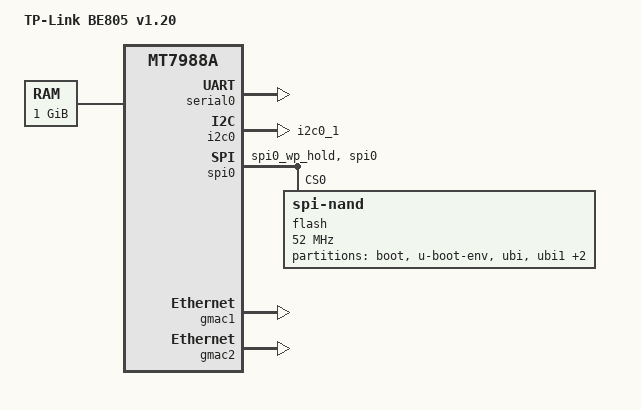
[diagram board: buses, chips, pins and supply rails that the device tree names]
// SPDX-License-Identifier: GPL-2.0-or-later OR MIT
// Author: Yanase Yuki <dev@zpc.st>
/dts-v1/;
#include "mt7988a.dtsi"
#include <dt-bindings/input/input.h>
#include <dt-bindings/leds/common.h>
#include <dt-bindings/regulator/richtek,rt5190a-regulator.h>

/ {
	model = "TP-Link BE805 v1.20";
	compatible = "tplink,be805-v1.20", "mediatek,mt7988a";
	chassis-type = "embedded";

	aliases {
		serial0 = &serial0;
	};

	chosen {
		bootargs = "";
		stdout-path = "serial0:115200n8";
	};

	memory {
		device_type = "memory";
		reg = <0x0 0x40000000>;
	};
};

&pio {
	i2c0_pins: i2c0-pins {
		mux {
			function = "i2c";
			groups = "i2c0_1";
		};
	};

	spi0_pins: spi0-pins {
		mux {
			function = "spi";
			groups = "spi0_wp_hold", "spi0";
		};
	};
};

&serial0 {
	status = "okay";
};

&i2c0 {
	status = "okay";
	pinctrl-names = "default";
	pinctrl-0 = <&i2c0_pins>;
};

&spi0 {
	status = "okay";
	pinctrl-names = "default";
	pinctrl-0 = <&spi0_pins>;

	flash: flash@0 {
		compatible = "spi-nand";
		reg = <0>;

		// half of the max rating (104 MHz)
		spi-max-frequency = <52000000>;
		spi-rx-bus-width = <4>;
		spi-tx-bus-width = <4>;

		nand-ecc-engine = <&flash>;

		// use stock firmware's value
		spi-cal-enable;
		spi-cal-mode = "read-data";
		spi-cal-datalen = <7>;
		spi-cal-data = [53 50 49 4e 41 4e 44];
		spi-cal-addrlen = <5>;
		spi-cal-addr = <0x0 0x0 0x0 0x0 0x0>;
	};
};

&gmac1 {
	status = "okay";
};

&gmac2 {
	status = "okay";
};

&flash {
	partitions {
		compatible = "fixed-partitions";
		#address-cells = <1>;
		#size-cells = <1>;

		partition@0 {
			reg = <0x0 0x200000>;
			label = "boot";
			read-only;
		};

		partition@200000 {
			reg = <0x200000 0x100000>;
			label = "u-boot-env";
		};

		partition@300000 {
			reg = <0x300000 0x3200000>;
			label = "ubi";
			read-only;
		};

		partition@3500000 {
			reg = <0x3500000 0x3200000>;
			label = "ubi1";
			read-only;
		};

		partition@6700000 {
			reg = <0x6700000 0x800000>;
			label = "userconfig";
			read-only;
		};

		partition@6f00000 {
			reg = <0x6f00000 0x800000>;
			label = "tp_data";
			read-only;
		};
	};
};

